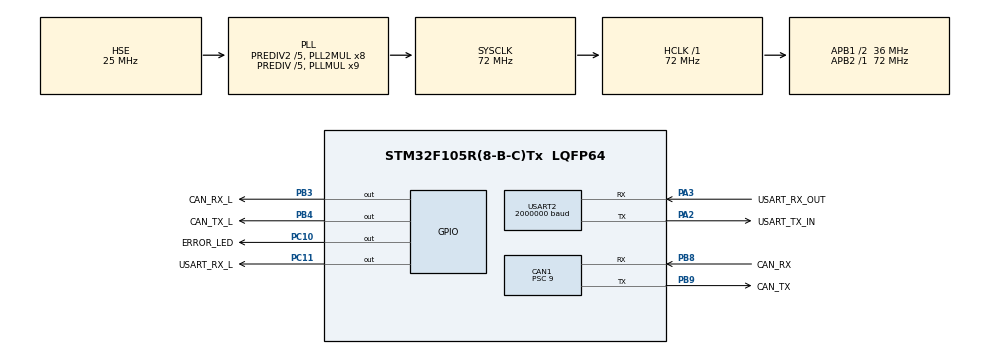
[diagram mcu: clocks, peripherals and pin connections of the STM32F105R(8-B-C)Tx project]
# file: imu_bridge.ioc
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CAN1.BS1=CAN_BS1_5TQ
CAN1.BS2=CAN_BS2_2TQ
CAN1.CalculateBaudRate=500000
CAN1.CalculateTimeBit=2000
CAN1.CalculateTimeQuantum=250.0
CAN1.Prescaler=9
Dma.Request0=USART2_RX
Dma.USART2_RX.0.Direction=DMA_PERIPH_TO_MEMORY
Dma.USART2_RX.0.Instance=DMA1_Channel6
Dma.USART2_RX.0.MemDataAlignment=DMA_MDATAALIGN_BYTE
Dma.USART2_RX.0.MemInc=DMA_MINC_ENABLE
Dma.USART2_RX.0.Mode=DMA_CIRCULAR
Dma.USART2_RX.0.PeriphDataAlignment=DMA_PDATAALIGN_BYTE
Dma.USART2_RX.0.PeriphInc=DMA_PINC_DISABLE
Dma.USART2_RX.0.Priority=DMA_PRIORITY_LOW
Mcu.Family=STM32F1
Mcu.Name=STM32F105R(8-B-C)Tx
Mcu.Package=LQFP64
NVIC.CAN1_RX0_IRQn=true\:0\:0\:false\:false\:true\:true\:true\:true
NVIC.CAN1_RX1_IRQn=true\:0\:0\:false\:false\:true\:true\:true\:true
NVIC.CAN1_SCE_IRQn=true\:0\:0\:false\:false\:true\:true\:true\:true
NVIC.CAN1_TX_IRQn=true\:0\:0\:false\:false\:true\:true\:true\:true
NVIC.DMA1_Channel6_IRQn=true\:0\:0\:false\:false\:true\:false\:true\:true
NVIC.PriorityGroup=NVIC_PRIORITYGROUP_4
NVIC.TIM6_IRQn=true\:0\:0\:false\:false\:true\:true\:true\:true
NVIC.USART2_IRQn=true\:0\:0\:false\:false\:true\:true\:true\:true
PA13.Mode=Serial_Wire
PA13.Signal=SYS_JTMS-SWDIO
PA14.Mode=Serial_Wire
PA14.Signal=SYS_JTCK-SWCLK
PA2.GPIO_Label=USART_TX_IN
PA2.Mode=Asynchronous
PA2.Signal=USART2_TX
PA3.GPIO_Label=USART_RX_OUT
PA3.Mode=Asynchronous
PA3.Signal=USART2_RX
PB3.GPIO_Label=CAN_RX_L
PB3.Signal=GPIO_Output
PB4.GPIO_Label=CAN_TX_L
PB4.Signal=GPIO_Output
PB8.GPIO_Label=CAN_RX
PB8.Mode=CAN_Activate
PB8.Signal=CAN1_RX
PB9.GPIO_Label=CAN_TX
PB9.Mode=CAN_Activate
PB9.Signal=CAN1_TX
PC10.GPIO_Label=ERROR_LED
PC10.Signal=GPIO_Output
PC11.GPIO_Label=USART_RX_L
PC11.Signal=GPIO_Output
PD0-OSC_IN.Mode=HSE-External-Oscillator
PD0-OSC_IN.Signal=RCC_OSC_IN
PD1-OSC_OUT.Mode=HSE-External-Oscillator
PD1-OSC_OUT.Signal=RCC_OSC_OUT
ProjectManager.HeapSize=0x200
ProjectManager.StackSize=0x400
ProjectManager.TargetToolchain=STM32CubeIDE
RCC.AHBFreq_Value=72000000
RCC.APB1CLKDivider=RCC_HCLK_DIV2
RCC.APB1Freq_Value=36000000
RCC.APB1TimFreq_Value=72000000
RCC.APB2Freq_Value=72000000
RCC.APB2TimFreq_Value=72000000
RCC.HCLKFreq_Value=72000000
RCC.HSEDivPLL=RCC_HSE_PREDIV_DIV5
RCC.HSE_VALUE=25000000
RCC.PLLMUL=RCC_PLL_MUL9
RCC.PLLSourceVirtual=RCC_PLLSOURCE_HSE
RCC.Prediv1Source=RCC_PREDIV1_SOURCE_PLL2
RCC.Prediv2=RCC_HSE_PREDIV2_DIV5
RCC.SYSCLKFreq_VALUE=72000000
RCC.SYSCLKSource=RCC_SYSCLKSOURCE_PLLCLK
RCC.USBFreq_Value=48000000
TIM6.AutoReloadPreload=TIM_AUTORELOAD_PRELOAD_ENABLE
TIM6.Period=7200-1
TIM6.Prescaler=10000-1
TIM6.TIM_MasterOutputTrigger=TIM_TRGO_UPDATE
USART2.BaudRate=2000000
USART2.VirtualMode=VM_ASYNC
VP_TIM6_VS_ClockSourceINT.Mode=Enable_Timer
board=custom

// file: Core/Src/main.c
/* USER CODE BEGIN Header */
/**
  ******************************************************************************
  * @file           : main.c
  * @brief          : Main program body
  ******************************************************************************
  * @attention
  *
  * Copyright (c) 2022 STMicroelectronics.
  * All rights reserved.
  *
  * This software is licensed under terms that can be found in the LICENSE file
  * in the root directory of this software component.
  * If no LICENSE file comes with this software, it is provided AS-IS.
  *
  ******************************************************************************
  */
/* USER CODE END Header */
#include "main.h"
#include "can.h"
#include "dma.h"
#include "tim.h"
#include "usart.h"
#include "gpio.h"

/* USER CODE BEGIN Includes */
#include "xsense.h"
#include "CAN_IMU_Bridge.h"
/* USER CODE END Includes */

/* USER CODE BEGIN PV */
extern UART_HandleTypeDef huart2;
extern DMA_HandleTypeDef hdma_usart2_rx;
extern TIM_HandleTypeDef htim6;
CAN_FilterTypeDef sFilterConfig;
uint8_t sgt_CAN_busy = 0;
uint8_t IMU_data_ready = 0;
uint8_t set_parameters = 0;

extern CAN_HandleTypeDef hcan1;
extern MCU_IMU_angular_velocity_TypeDef MCU_IMU_angular_velocity_Data;
extern MCU_IMU_acceleration_TypeDef MCU_IMU_acceleration_Data;
extern MCU_IMU_euler_angles_TypeDef MCU_IMU_euler_angles_Data;
extern MCU_IMU_gps_position_TypeDef MCU_IMU_gps_position_Data;
extern MCU_IMU_gps_speed_TypeDef MCU_IMU_gps_speed_Data;
extern struct XDI_RateOfTurnDataType XDI_RateOfTurn;
extern struct XDI_AccelerationDataType XDI_Acceleration;
extern struct XDI_EulerAnglesDataType XDI_EulerAngles;
extern struct XDI_VelocityDataType XDI_Velocity;
extern struct XDI_GPSPositionDataType XDI_GPSPosition;
/* USER CODE END PV */

void SystemClock_Config(void);
/* USER CODE BEGIN PFP */
void send_sgt_CAN(void);
void USART_ReInit(void);
static void MX_NVIC_Init(void);
/* USER CODE END PFP */

/* USER CODE BEGIN 0 */
void initCanFilter(void)
{
	sFilterConfig.FilterBank = 0;
	sFilterConfig.FilterMode = CAN_FILTERMODE_IDMASK;
	sFilterConfig.FilterScale = CAN_FILTERSCALE_16BIT;
	sFilterConfig.FilterIdHigh = 0x0000;
	sFilterConfig.FilterIdLow = 0x0000;
	sFilterConfig.FilterMaskIdHigh = 0x0000;
	sFilterConfig.FilterMaskIdLow = 0x0000;
	sFilterConfig.FilterFIFOAssignment = CAN_RX_FIFO0;
	sFilterConfig.FilterActivation = ENABLE;
	sFilterConfig.SlaveStartFilterBank = 14;

	if (HAL_CAN_ConfigFilter(&hcan1, &sFilterConfig) != HAL_OK)
	{
		Error_Handler();
	}
}
/* USER CODE END 0 */

int main(void)
{

  /* MCU Configuration--------------------------------------------------------*/

  /* Reset of all peripherals, Initializes the Flash interface and the Systick. */
  HAL_Init();

  /* Configure the system clock */
  SystemClock_Config();

  /* Initialize all configured peripherals */
  MX_GPIO_Init();
  MX_DMA_Init();
  MX_CAN1_Init();
  MX_USART2_UART_Init();
  MX_TIM6_Init();
  /* USER CODE BEGIN 2 */
  MX_NVIC_Init();

  initCanFilter();
  HAL_CAN_Start(&hcan1);
  HAL_CAN_ActivateNotification(&hcan1, CAN_IT_RX_FIFO0_MSG_PENDING);

  __HAL_UART_ENABLE_IT(&huart2, UART_IT_IDLE);								// enable idle line interrupt
  __HAL_DMA_DISABLE_IT(&hdma_usart2_rx, DMA_IT_HT); 						// disable half complete interrupt
  HAL_UART_Receive_DMA(&huart2, XSENSE_rx_buffer, XSENSE_rx_buffer_size);	// start receiving data

  HAL_TIM_Base_Start_IT(&htim6);
  //HAL_TIM_Base_MspInit(&htim6);
  /* USER CODE END 2 */

  /* Infinite loop */
  /* USER CODE BEGIN WHILE */
  while (1)
  {
	  if(IMU_data_ready)
	  {
		  send_sgt_CAN();
	  }

	  if(set_parameters)
	  {
		  USART_ReInit();
	  }
    /* USER CODE END WHILE */

  }
}

void SystemClock_Config(void)
{
  RCC_OscInitTypeDef RCC_OscInitStruct = {0};
  RCC_ClkInitTypeDef RCC_ClkInitStruct = {0};

  /** Initializes the RCC Oscillators according to the specified parameters
  * in the RCC_OscInitTypeDef structure.
  */
  RCC_OscInitStruct.OscillatorType = RCC_OSCILLATORTYPE_HSE;
  RCC_OscInitStruct.HSEState = RCC_HSE_ON;
  RCC_OscInitStruct.HSEPredivValue = RCC_HSE_PREDIV_DIV5;
  RCC_OscInitStruct.HSIState = RCC_HSI_ON;
  RCC_OscInitStruct.Prediv1Source = RCC_PREDIV1_SOURCE_PLL2;
  RCC_OscInitStruct.PLL.PLLState = RCC_PLL_ON;
  RCC_OscInitStruct.PLL.PLLSource = RCC_PLLSOURCE_HSE;
  RCC_OscInitStruct.PLL.PLLMUL = RCC_PLL_MUL9;
  RCC_OscInitStruct.PLL2.PLL2State = RCC_PLL2_ON;
  RCC_OscInitStruct.PLL2.PLL2MUL = RCC_PLL2_MUL8;
  RCC_OscInitStruct.PLL2.HSEPrediv2Value = RCC_HSE_PREDIV2_DIV5;
  if (HAL_RCC_OscConfig(&RCC_OscInitStruct) != HAL_OK)
  {
    Error_Handler();
  }

  /** Initializes the CPU, AHB and APB buses clocks
  */
  RCC_ClkInitStruct.ClockType = RCC_CLOCKTYPE_HCLK|RCC_CLOCKTYPE_SYSCLK
                              |RCC_CLOCKTYPE_PCLK1|RCC_CLOCKTYPE_PCLK2;
  RCC_ClkInitStruct.SYSCLKSource = RCC_SYSCLKSOURCE_PLLCLK;
  RCC_ClkInitStruct.AHBCLKDivider = RCC_SYSCLK_DIV1;
  RCC_ClkInitStruct.APB1CLKDivider = RCC_HCLK_DIV2;
  RCC_ClkInitStruct.APB2CLKDivider = RCC_HCLK_DIV1;

  if (HAL_RCC_ClockConfig(&RCC_ClkInitStruct, FLASH_LATENCY_2) != HAL_OK)
  {
    Error_Handler();
  }

  /** Configure the Systick interrupt time
  */
  __HAL_RCC_PLLI2S_ENABLE();
}

/* USER CODE BEGIN 4 */

void set_MCU_IMU_data(void)
{
	MCU_IMU_angular_velocity_Data.gyrX = XDI_RateOfTurn.gyrX * 100;
	MCU_IMU_angular_velocity_Data.gyrY = XDI_RateOfTurn.gyrY * 100;
	MCU_IMU_angular_velocity_Data.gyrZ = XDI_RateOfTurn.gyrZ * 100;

	MCU_IMU_acceleration_Data.accX = XDI_Acceleration.accx * 1000;
	MCU_IMU_acceleration_Data.accY = XDI_Acceleration.accy * 1000;
	MCU_IMU_acceleration_Data.accZ = XDI_Acceleration.accz * 1000;

	MCU_IMU_euler_angles_Data.pitch = XDI_EulerAngles.pitch * 100;
	MCU_IMU_euler_angles_Data.roll = XDI_EulerAngles.roll * 100;
	MCU_IMU_euler_angles_Data.yaw = XDI_EulerAngles.yaw * 100;

	MCU_IMU_gps_position_Data.lat = XDI_GPSPosition.latitude;
	MCU_IMU_gps_position_Data.longitude = XDI_GPSPosition.longitude;
	MCU_IMU_gps_speed_Data.gps_velocity = XDI_Velocity.velSum;

	IMU_data_ready = 1;
}

void send_sgt_CAN(void)
{
	static uint8_t CAN_Tx_msg_counter;

	sgt_CAN_busy = 1;

	Tx_MCU_IMU_angular_velocity_Data(&hcan1, &MCU_IMU_angular_velocity_Data);
	Tx_MCU_IMU_acceleration_Data(&hcan1, &MCU_IMU_acceleration_Data);
	Tx_MCU_IMU_euler_angles_Data(&hcan1, &MCU_IMU_euler_angles_Data);
	HAL_Delay(0.1);
	Tx_MCU_IMU_gps_position_Data(&hcan1, &MCU_IMU_gps_position_Data);
	Tx_MCU_IMU_gps_speed_Data(&hcan1, &MCU_IMU_gps_speed_Data);

	IMU_data_ready = 0;
	sgt_CAN_busy = 0;

	/* Blink IMU LED every 10 received messages */
	if (CAN_Tx_msg_counter > 10)
	{
		CAN_Tx_msg_counter = 0;
		HAL_GPIO_TogglePin(CAN_TX_L_GPIO_Port, CAN_TX_L_Pin);
	}
	else
	{
		CAN_Tx_msg_counter++;
	}
}

uint8_t is_sgt_CAN_busy()
{
	return sgt_CAN_busy;
}

void USART_ReInit(void)
{
    HAL_UART_Abort_IT(&huart2);
    __HAL_UART_DISABLE_IT(&huart2, UART_IT_IDLE);

    HAL_UART_DeInit(&huart2);

    if (HAL_UART_Init(&huart2) != HAL_OK) {
        Error_Handler();
    }

    __HAL_UART_ENABLE_IT(&huart2, UART_IT_IDLE);

    __HAL_DMA_DISABLE_IT(&hdma_usart2_rx, DMA_IT_HT);

    HAL_UART_Receive_DMA(&huart2, XSENSE_rx_buffer, XSENSE_rx_buffer_size);

    HAL_Delay(1000);
    set_parameters = 0;
	return;
}

/** NVIC Configuration
 */
static void MX_NVIC_Init(void) {
	/* USART2_IRQn interrupt configuration */
	HAL_NVIC_SetPriority(USART2_IRQn, 0, 0);
	HAL_NVIC_EnableIRQ(USART2_IRQn);
	/* DMA2_Stream2_IRQn interrupt configuration */
	HAL_NVIC_SetPriority(DMA1_Channel6_IRQn, 0, 0);
	HAL_NVIC_EnableIRQ(DMA1_Channel6_IRQn);
}

/* USER CODE END 4 */

void Error_Handler(void)
{
  __disable_irq();
  while (1)
  {
  }
}
